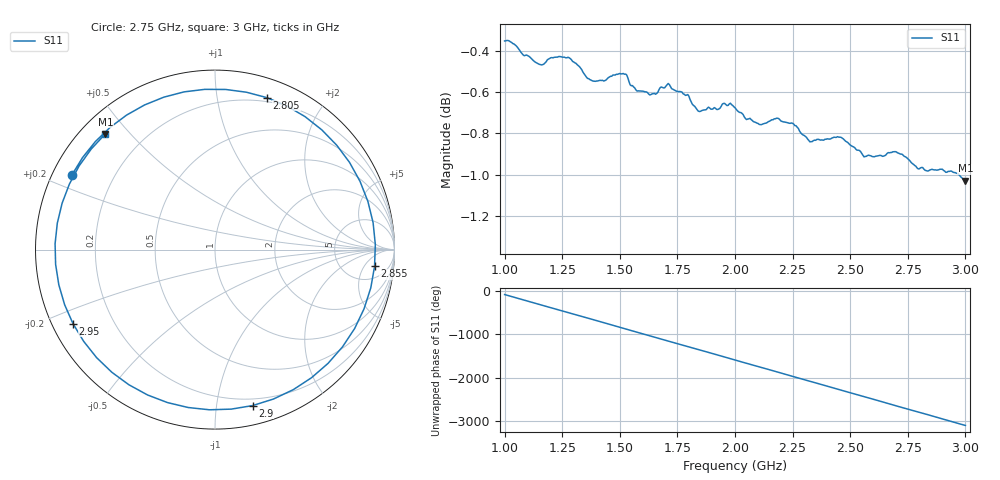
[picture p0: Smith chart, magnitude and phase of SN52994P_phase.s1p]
!  02.03.2026  11:03:38
! Ref Plane: 0,000 mm
# MHZ S MA R  50
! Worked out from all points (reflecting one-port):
!   401 points, 1 GHz to 3 GHz, reference 50 ohm
!   lowest |S11| = -1.0 dB at 3 GHz (marker M1), VSWR 16.89, Z = 3.51 + j21.4 ohm
!   phase of S11 starts at -76 deg and turns -3031 deg over the sweep
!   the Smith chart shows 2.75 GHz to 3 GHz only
!   S11 on the Smith chart (normalised r, x): 2.75 GHz: 0.06, +0.24; 2.805 GHz: 0.16, +1.39; 2.855 GHz: 10, -9; 2.9 GHz: 0.15, -1.26; 2.95 GHz: 0.06, -0.24; 3 GHz: 0.07, +0.43
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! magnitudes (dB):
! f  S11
! 1 GHz  -0.4
! 1.155 GHz  -0.5
! 1.25 GHz  -0.4
! 1.385 GHz  -0.5
! 1.5 GHz  -0.5
! 1.525 GHz  -0.5
! 1.58 GHz  -0.6
! 1.645 GHz  -0.6
! 1.71 GHz  -0.6
! 1.75 GHz  -0.6
! 1.79 GHz  -0.6
! 1.845 GHz  -0.7
! 1.955 GHz  -0.7
! 2 GHz  -0.7
! 2.105 GHz  -0.8
! 2.18 GHz  -0.7
! 2.25 GHz  -0.8
! 2.325 GHz  -0.8
! 2.45 GHz  -0.8
! 2.5 GHz  -0.9
! 2.565 GHz  -0.9
! 2.695 GHz  -0.9
! 2.75 GHz  -0.9
! 2.805 GHz  -1.0
! 2.855 GHz  -1.0
! 2.9 GHz  -1.0
! 2.95 GHz  -1.0
! 3 GHz  -1.0
